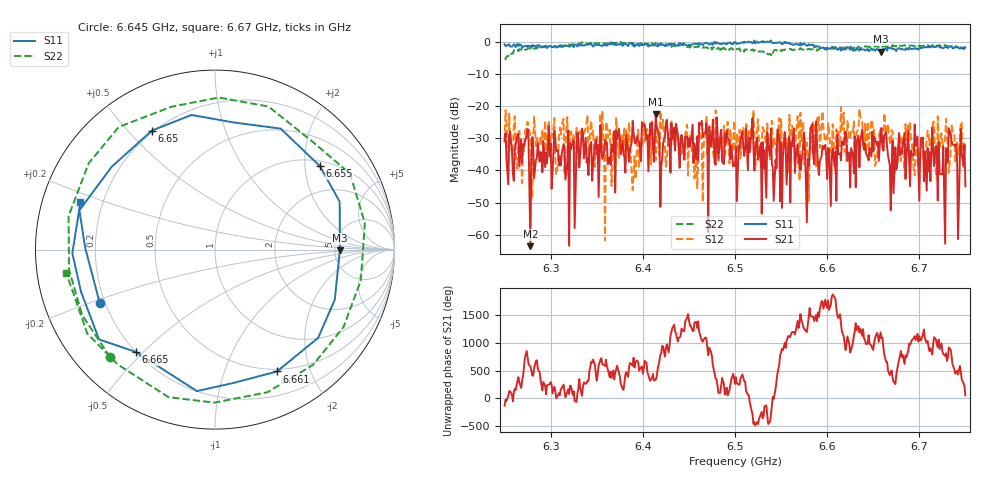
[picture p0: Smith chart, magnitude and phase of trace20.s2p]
# Hz S RI R 50
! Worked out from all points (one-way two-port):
!   401 points, 6.25 GHz to 6.75 GHz, reference 50 ohm
!   highest |S21| = -22.58 dB at 6.414 GHz (marker M1); lowest = -63.5 dB at 6.278 GHz (marker M2)
!   lowest |S11| = -3.2 dB at 6.658 GHz (marker M3), VSWR 5.57, Z = 279 - j3.32 ohm
!   |S11| at or under -10 dB: nowhere
!   |S22| runs from -5.5 to -0.1 dB; largest |S21 - S12| = 0.11
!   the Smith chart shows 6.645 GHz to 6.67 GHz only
!   S11 on the Smith chart (normalised r, x): 6.645 GHz: 0.18, -0.21; 6.65 GHz: 0.19, +0.59; 6.655 GHz: 1.14, +2.39; 6.661 GHz: 0.47, -1.53; 6.665 GHz: 0.20, -0.47; 6.67 GHz: 0.12, +0.17
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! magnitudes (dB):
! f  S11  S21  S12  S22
! 6.25 GHz  -0.9  -31.0  -31.2  -5.5
! 6.278 GHz  -1.4  -63.5  -29.0  -2.2
! 6.334 GHz  -1.0  -27.0  -29.4  -0.2
! 6.382 GHz  -0.9  -29.0  -27.6  -0.4
! 6.39 GHz  -0.8  -28.4  -41.0  -0.5
! 6.414 GHz  -1.2  -22.6  -36.8  -0.3
! 6.418 GHz  -1.0  -29.5  -35.3  -1.0
! 6.464 GHz  -0.9  -24.6  -30.9  -1.7
! 6.5 GHz  -0.2  -38.7  -31.5  -2.5
! 6.584 GHz  -1.1  -25.6  -34.6  -2.4
! 6.645 GHz  -3.0  -36.9  -35.7  -1.5
! 6.65 GHz  -2.5  -34.2  -30.3  -1.4
! 6.655 GHz  -2.5  -31.1  -32.0  -1.4
! 6.658 GHz  -3.2  -28.5  -26.6  -1.3
! 6.661 GHz  -2.4  -33.9  -33.8  -1.6
! 6.665 GHz  -2.8  -32.6  -28.5  -1.4
! 6.668 GHz  -2.1  -38.4  -31.2  -1.5
! 6.67 GHz  -2.0  -39.9  -27.5  -1.5
! 6.695 GHz  -2.3  -25.8  -41.6  -1.5
! 6.725 GHz  -2.0  -41.1  -31.6  -1.3
! 6.735 GHz  -1.4  -30.9  -26.1  -1.8
! 6.75 GHz  -1.8  -45.0  -32.2  -2.2
